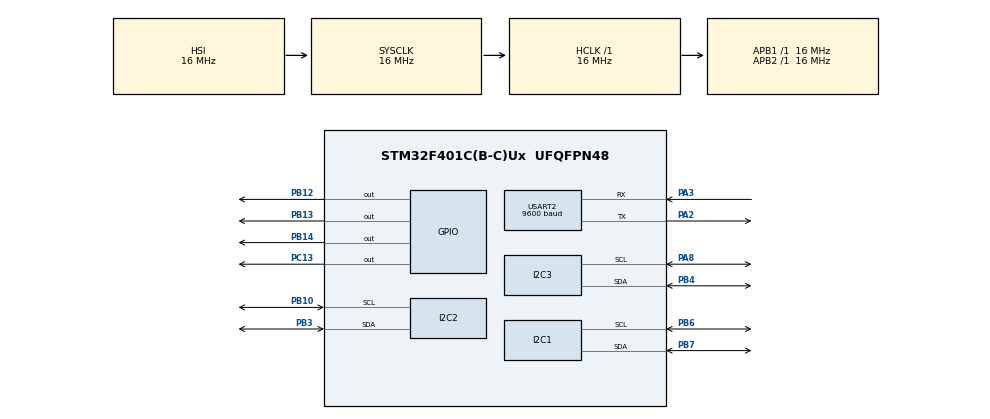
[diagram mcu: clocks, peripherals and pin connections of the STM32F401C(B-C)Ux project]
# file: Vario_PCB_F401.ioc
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FREERTOS.Tasks01=SensorTask,40,2024,sensor_aq_task,Default,NULL,Static,SensorTaskBuffer,SensorTaskControlBlock;DisplayTask,24,5024,display_refresh,Default,NULL,Static,DisplayTaskBuffer,DisplayTaskControlBlock;FailureMonitor,8,2024,failiure_detector,Default,NULL,Static,FailureMonitorBuffer,FailureMonitorControlBlock
FREERTOS.configUSE_NEWLIB_REENTRANT=1
Mcu.Family=STM32F4
Mcu.Name=STM32F401C(B-C)Ux
Mcu.Package=UFQFPN48
NVIC.PriorityGroup=NVIC_PRIORITYGROUP_4
NVIC.TIM1_TRG_COM_TIM11_IRQn=true\:15\:0\:false\:false\:true\:false\:false\:true\:true
NVIC.TimeBase=TIM1_TRG_COM_TIM11_IRQn
NVIC.TimeBaseIP=TIM11
PA2.Mode=Asynchronous
PA2.Signal=USART2_TX
PA3.Mode=Asynchronous
PA3.Signal=USART2_RX
PA8.GPIO_Pu=GPIO_PULLUP
PA8.Mode=I2C
PA8.Signal=I2C3_SCL
PB10.GPIO_Pu=GPIO_PULLUP
PB10.Mode=I2C
PB10.Signal=I2C2_SCL
PB12.GPIO_PuPd=GPIO_PULLDOWN
PB12.PinState=GPIO_PIN_SET
PB12.Signal=GPIO_Output
PB13.GPIO_PuPd=GPIO_PULLDOWN
PB13.PinState=GPIO_PIN_SET
PB13.Signal=GPIO_Output
PB14.GPIO_PuPd=GPIO_PULLDOWN
PB14.PinState=GPIO_PIN_SET
PB14.Signal=GPIO_Output
PB3.GPIO_Pu=GPIO_PULLUP
PB3.Mode=I2C
PB3.Signal=I2C2_SDA
PB4.GPIO_Pu=GPIO_PULLUP
PB4.Mode=I2C
PB4.Signal=I2C3_SDA
PB6.GPIO_Pu=GPIO_PULLUP
PB6.Mode=I2C
PB6.Signal=I2C1_SCL
PB7.GPIO_Pu=GPIO_PULLUP
PB7.Mode=I2C
PB7.Signal=I2C1_SDA
PC13-ANTI_TAMP.GPIO_PuPd=GPIO_PULLDOWN
PC13-ANTI_TAMP.PinState=GPIO_PIN_SET
PC13-ANTI_TAMP.Signal=GPIO_Output
ProjectManager.HeapSize=0x200
ProjectManager.StackSize=0x400
ProjectManager.TargetToolchain=STM32CubeIDE
RCC.AHBFreq_Value=16000000
RCC.APB1Freq_Value=16000000
RCC.APB2Freq_Value=16000000
RCC.CortexFreq_Value=16000000
RCC.HSE_VALUE=25000000
RCC.HSI_VALUE=16000000
RCC.LSE_VALUE=32768
RCC.SYSCLKFreq_VALUE=16000000
RCC.VCOOutputFreq_Value=192000000
USART2.BaudRate=9600
USART2.VirtualMode=VM_ASYNC
VP_FREERTOS_VS_CMSIS_V2.Mode=CMSIS_V2
VP_SYS_VS_tim11.Mode=TIM11
board=custom

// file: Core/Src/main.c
/* USER CODE BEGIN Header */
/**
 ******************************************************************************
 * @file           : main.c
 * @brief          : Main program body
 ******************************************************************************
 * @attention
 *
 * Copyright (c) 2026 STMicroelectronics.
 * All rights reserved.
 *
 * This software is licensed under terms that can be found in the LICENSE file
 * in the root directory of this software component.
 * If no LICENSE file comes with this software, it is provided AS-IS.
 *
 ******************************************************************************
 */
/* USER CODE END Header */
#include "main.h"
#include "cmsis_os.h"

/* USER CODE BEGIN Includes */
#include "bmp280_secondary.h"
#include "bmp280.h"
#include "mpu6050.h"
#include <stdio.h>
/* USER CODE END Includes */

typedef StaticTask_t osStaticThreadDef_t;

/* USER CODE BEGIN PD */
float altitude = 0.00f;
float gx = 0.00f;
float gy = 0.00f;
float gz = 0.00f;
float ax = 0.00f;
float ay = 0.00f;
float az = 0.00f;
float cc = 0.00f;
float cv = 0.00f;
float fused_vz = 0.00f;
float roll_deg = 0.00f;
float pitch_deg = 0.00f;
float prev_altitude = 0.00f;
float vz_avg = 0.00f;
int debug = 0;
float fused_vz_bias = 0.0f;
float pitch_bias = 0.0f;

int sensor_task_running = 0;
int display_task_running = 0;
int failure_monitor_running = 0;
float pitch_calibrated = 0.0f;

int bmp_primary_failure_state = 0;
int bmp_recovery_flag = 0;

/* USER CODE END PD */

I2C_HandleTypeDef hi2c1;
I2C_HandleTypeDef hi2c2;
I2C_HandleTypeDef hi2c3;

UART_HandleTypeDef huart2;

/* Definitions for SensorTask */
osThreadId_t SensorTaskHandle;
uint32_t SensorTaskBuffer[ 2024 ];
osStaticThreadDef_t SensorTaskControlBlock;
const osThreadAttr_t SensorTask_attributes = {
  .name = "SensorTask",
  .cb_mem = &SensorTaskControlBlock,
  .cb_size = sizeof(SensorTaskControlBlock),
  .stack_mem = &SensorTaskBuffer[0],
  .stack_size = sizeof(SensorTaskBuffer),
  .priority = (osPriority_t) osPriorityHigh,
};
/* Definitions for DisplayTask */
osThreadId_t DisplayTaskHandle;
uint32_t DisplayTaskBuffer[ 5024 ];
osStaticThreadDef_t DisplayTaskControlBlock;
const osThreadAttr_t DisplayTask_attributes = {
  .name = "DisplayTask",
  .cb_mem = &DisplayTaskControlBlock,
  .cb_size = sizeof(DisplayTaskControlBlock),
  .stack_mem = &DisplayTaskBuffer[0],
  .stack_size = sizeof(DisplayTaskBuffer),
  .priority = (osPriority_t) osPriorityNormal,
};
/* Definitions for FailureMonitor */
osThreadId_t FailureMonitorHandle;
uint32_t FailureMonitorBuffer[ 2024 ];
osStaticThreadDef_t FailureMonitorControlBlock;
const osThreadAttr_t FailureMonitor_attributes = {
  .name = "FailureMonitor",
  .cb_mem = &FailureMonitorControlBlock,
  .cb_size = sizeof(FailureMonitorControlBlock),
  .stack_mem = &FailureMonitorBuffer[0],
  .stack_size = sizeof(FailureMonitorBuffer),
  .priority = (osPriority_t) osPriorityNormal,
};

void SystemClock_Config(void);
static void MX_GPIO_Init(void);
static void MX_I2C1_Init(void);
static void MX_I2C2_Init(void);
static void MX_I2C3_Init(void);
static void MX_USART2_UART_Init(void);
void sensor_aq_task(void *argument);
void display_refresh(void *argument);
void failiure_detector(void *argument);

/* USER CODE BEGIN 0 */
#define PUTCHAR_PROTOTYPE int __io_putchar(int ch)

PUTCHAR_PROTOTYPE {
	/* Place your implementation of fputc here */
	/* e.g. write a character to the USART1 and Loop until the end of transmission */
	HAL_UART_Transmit(&huart2, (uint8_t*) &ch, 1, 300);

	return ch;
}

float vertical_velocity_baro(float altitude, float dt) {
	static float prev_alt = 0.0f;
	static uint8_t initialized = 0;
	static float vz = 0.0f;

	if (!initialized) {
		prev_alt = altitude;
		initialized = 1;
		return 0.0f;
	}

	float raw_vz = (altitude - prev_alt) / dt;
	const float alpha = 0.85f;
	vz = alpha * vz + (1.0f - alpha) * raw_vz;

	prev_alt = altitude;

	return vz;
}

float vertical_velocity_imu(float ax, float ay, float az, float roll_deg,
		float pitch_deg, float dt) {
	static float vz = 0.0f;
	static float bias = 0.0f;
	static uint8_t initialized = 0;

	const float g = 9.80665f;

	float roll = roll_deg * 0.0174533f;
	float pitch = pitch_deg * 0.0174533f;

	float accZ_inertial = -sinf(pitch) * ax + cosf(pitch) * sinf(roll) * ay
			+ cosf(pitch) * cosf(roll) * az;

	float az_true = (accZ_inertial - 1.0f) * g;

	if (!initialized) {
		bias = az_true;
		initialized = 1;
		return 0.0f;
	}

	bias = 0.995f * bias + 0.005f * az_true;
	az_true -= bias;
	vz += az_true * dt;
	vz *= 0.999f;

	return vz;
}

float average_altitude(int steps) {
	float sum = 0.0f;

	for (int i = 0; i < steps; i++) {
		sum += altitude_calc();
		HAL_Delay(10);
	}

	return sum / steps;
}

float vertical_velocity_fused(float ax, float ay, float az, float roll_deg,
		float pitch_deg, float dt) {
	static float vz = 0.0f;
	static float prev_alt = 0.0f;
	static float vz_baro = 0.0f;

	const float g = 9.80665f;

	float roll = roll_deg * 0.0174533f;
	float pitch = pitch_deg * 0.0174533f;

	float accZ_inertial = -sinf(pitch) * ax + cosf(pitch) * sinf(roll) * ay
			+ cosf(pitch) * cosf(roll) * az;

	float az_true = (accZ_inertial - 1.0f) * g;
	float altitude = altitude_calc();
	float raw_vz_baro = (altitude - prev_alt) / dt;

	const float alpha_baro = 0.91f;
	vz_baro = alpha_baro * vz_baro + (1.0f - alpha_baro) * raw_vz_baro;
	prev_alt = altitude;

	const float k_baro = 0.05f; //earlier 0,05

	vz += az_true * dt;
	vz += (vz_baro - vz) * k_baro;

	return vz;
}

float display_refresh_averaged(float input, int count) {
	for (int i = 0; i <= count; i++) {
		input += input;
	}

	input = input / count;

	return input;
}
/* USER CODE END 0 */

int main(void)
{

  /* MCU Configuration--------------------------------------------------------*/

  /* Reset of all peripherals, Initializes the Flash interface and the Systick. */
  HAL_Init();

  /* Configure the system clock */
  SystemClock_Config();

  /* Initialize all configured peripherals */
  MX_GPIO_Init();
  MX_I2C1_Init();
  MX_I2C2_Init();
  MX_I2C3_Init();
  MX_USART2_UART_Init();
  /* USER CODE BEGIN 2 */
	mpu_init();
	bmp_i2c_setup();
	bmp_i2c_setup_secondary();

	HAL_GPIO_WritePin(GPIOC, GPIO_PIN_13, 0); // Inverted LED logic
	HAL_GPIO_WritePin(GPIOB, GPIO_PIN_14, 0);
	HAL_GPIO_WritePin(GPIOB, GPIO_PIN_13, 0);
	HAL_GPIO_WritePin(GPIOB, GPIO_PIN_12, 0);

	HAL_Delay(100);

	//HAL_GPIO_WritePin(GPIOB, GPIO_PIN_14, 1);
	HAL_GPIO_WritePin(GPIOB, GPIO_PIN_13, 1);
	HAL_GPIO_WritePin(GPIOB, GPIO_PIN_12, 1);

	float sum = 0.0f;
	float pitch_sum = 0.0f;

	debug = 1;

	for (int i = 0; i < 100; i++) {
		gx = mpu_gyro_read(0);
		gy = mpu_gyro_read(1);
		gz = mpu_gyro_read(2);

		ax = mpu_accel_read(0);
		ay = mpu_accel_read(1);
		az = mpu_accel_read(2);

		mpu_get_kalman_angles(&roll_deg, &pitch_deg);

		pitch_sum += pitch_deg;

		altitude = altitude_calc();

		float temp = vertical_velocity_fused(ax, ay, az, roll_deg, pitch_deg,
				0.02f);

		sum += temp;

		HAL_Delay(2);
	}

	pitch_bias = pitch_sum / 100.0f;

	fused_vz_bias = sum / 100.0f;

	HAL_GPIO_WritePin(GPIOB, GPIO_PIN_14, 0); //Inverted LED logic
	HAL_GPIO_WritePin(GPIOB, GPIO_PIN_13, 0);
	HAL_GPIO_WritePin(GPIOB, GPIO_PIN_12, 0);
	HAL_GPIO_WritePin(GPIOC, GPIO_PIN_13, 0);

	debug = 100;

  /* USER CODE END 2 */

  /* Init scheduler */
  osKernelInitialize();

  /* Create the thread(s) */
  /* creation of SensorTask */
  SensorTaskHandle = osThreadNew(sensor_aq_task, NULL, &SensorTask_attributes);

  /* creation of DisplayTask */
  DisplayTaskHandle = osThreadNew(display_refresh, NULL, &DisplayTask_attributes);

  /* creation of FailureMonitor */
  FailureMonitorHandle = osThreadNew(failiure_detector, NULL, &FailureMonitor_attributes);

  /* Start scheduler */
  osKernelStart();

  /* We should never get here as control is now taken by the scheduler */

  /* Infinite loop */
	while (1) {

	}
}

void SystemClock_Config(void)
{
  RCC_OscInitTypeDef RCC_OscInitStruct = {0};
  RCC_ClkInitTypeDef RCC_ClkInitStruct = {0};

  /** Configure the main internal regulator output voltage
  */
  __HAL_RCC_PWR_CLK_ENABLE();
  __HAL_PWR_VOLTAGESCALING_CONFIG(PWR_REGULATOR_VOLTAGE_SCALE2);

  /** Initializes the RCC Oscillators according to the specified parameters
  * in the RCC_OscInitTypeDef structure.
  */
  RCC_OscInitStruct.OscillatorType = RCC_OSCILLATORTYPE_HSI;
  RCC_OscInitStruct.HSIState = RCC_HSI_ON;
  RCC_OscInitStruct.HSICalibrationValue = RCC_HSICALIBRATION_DEFAULT;
  RCC_OscInitStruct.PLL.PLLState = RCC_PLL_NONE;
  if (HAL_RCC_OscConfig(&RCC_OscInitStruct) != HAL_OK)
  {
    Error_Handler();
  }

  /** Initializes the CPU, AHB and APB buses clocks
  */
  RCC_ClkInitStruct.ClockType = RCC_CLOCKTYPE_HCLK|RCC_CLOCKTYPE_SYSCLK
                              |RCC_CLOCKTYPE_PCLK1|RCC_CLOCKTYPE_PCLK2;
  RCC_ClkInitStruct.SYSCLKSource = RCC_SYSCLKSOURCE_HSI;
  RCC_ClkInitStruct.AHBCLKDivider = RCC_SYSCLK_DIV1;
  RCC_ClkInitStruct.APB1CLKDivider = RCC_HCLK_DIV1;
  RCC_ClkInitStruct.APB2CLKDivider = RCC_HCLK_DIV1;

  if (HAL_RCC_ClockConfig(&RCC_ClkInitStruct, FLASH_LATENCY_0) != HAL_OK)
  {
    Error_Handler();
  }
}

static void MX_I2C1_Init(void)
{

  hi2c1.Instance = I2C1;
  hi2c1.Init.ClockSpeed = 100000;
  hi2c1.Init.DutyCycle = I2C_DUTYCYCLE_2;
  hi2c1.Init.OwnAddress1 = 0;
  hi2c1.Init.AddressingMode = I2C_ADDRESSINGMODE_7BIT;
  hi2c1.Init.DualAddressMode = I2C_DUALADDRESS_DISABLE;
  hi2c1.Init.OwnAddress2 = 0;
  hi2c1.Init.GeneralCallMode = I2C_GENERALCALL_DISABLE;
  hi2c1.Init.NoStretchMode = I2C_NOSTRETCH_DISABLE;
  if (HAL_I2C_Init(&hi2c1) != HAL_OK)
  {
    Error_Handler();
  }

}

static void MX_I2C2_Init(void)
{

  hi2c2.Instance = I2C2;
  hi2c2.Init.ClockSpeed = 100000;
  hi2c2.Init.DutyCycle = I2C_DUTYCYCLE_2;
  hi2c2.Init.OwnAddress1 = 0;
  hi2c2.Init.AddressingMode = I2C_ADDRESSINGMODE_7BIT;
  hi2c2.Init.DualAddressMode = I2C_DUALADDRESS_DISABLE;
  hi2c2.Init.OwnAddress2 = 0;
  hi2c2.Init.GeneralCallMode = I2C_GENERALCALL_DISABLE;
  hi2c2.Init.NoStretchMode = I2C_NOSTRETCH_DISABLE;
  if (HAL_I2C_Init(&hi2c2) != HAL_OK)
  {
    Error_Handler();
  }

}

static void MX_I2C3_Init(void)
{

  hi2c3.Instance = I2C3;
  hi2c3.Init.ClockSpeed = 100000;
  hi2c3.Init.DutyCycle = I2C_DUTYCYCLE_2;
  hi2c3.Init.OwnAddress1 = 0;
  hi2c3.Init.AddressingMode = I2C_ADDRESSINGMODE_7BIT;
  hi2c3.Init.DualAddressMode = I2C_DUALADDRESS_DISABLE;
  hi2c3.Init.OwnAddress2 = 0;
  hi2c3.Init.GeneralCallMode = I2C_GENERALCALL_DISABLE;
  hi2c3.Init.NoStretchMode = I2C_NOSTRETCH_DISABLE;
  if (HAL_I2C_Init(&hi2c3) != HAL_OK)
  {
    Error_Handler();
  }

}

static void MX_USART2_UART_Init(void)
{

  huart2.Instance = USART2;
  huart2.Init.BaudRate = 9600;
  huart2.Init.WordLength = UART_WORDLENGTH_8B;
  huart2.Init.StopBits = UART_STOPBITS_1;
  huart2.Init.Parity = UART_PARITY_NONE;
  huart2.Init.Mode = UART_MODE_TX_RX;
  huart2.Init.HwFlowCtl = UART_HWCONTROL_NONE;
  huart2.Init.OverSampling = UART_OVERSAMPLING_16;
  if (HAL_UART_Init(&huart2) != HAL_OK)
  {
    Error_Handler();
  }

}

static void MX_GPIO_Init(void)
{
  GPIO_InitTypeDef GPIO_InitStruct = {0};

  /* GPIO Ports Clock Enable */
  __HAL_RCC_GPIOC_CLK_ENABLE();
  __HAL_RCC_GPIOA_CLK_ENABLE();
  __HAL_RCC_GPIOB_CLK_ENABLE();

  /*Configure GPIO pin Output Level */
  HAL_GPIO_WritePin(GPIOC, GPIO_PIN_13, GPIO_PIN_SET);

  /*Configure GPIO pin Output Level */
  HAL_GPIO_WritePin(GPIOB, GPIO_PIN_12|GPIO_PIN_13|GPIO_PIN_14, GPIO_PIN_SET);

  /*Configure GPIO pin : PC13 */
  GPIO_InitStruct.Pin = GPIO_PIN_13;
  GPIO_InitStruct.Mode = GPIO_MODE_OUTPUT_PP;
  GPIO_InitStruct.Pull = GPIO_PULLDOWN;
  GPIO_InitStruct.Speed = GPIO_SPEED_FREQ_LOW;
  HAL_GPIO_Init(GPIOC, &GPIO_InitStruct);

  /*Configure GPIO pins : PB12 PB13 PB14 */
  GPIO_InitStruct.Pin = GPIO_PIN_12|GPIO_PIN_13|GPIO_PIN_14;
  GPIO_InitStruct.Mode = GPIO_MODE_OUTPUT_PP;
  GPIO_InitStruct.Pull = GPIO_PULLDOWN;
  GPIO_InitStruct.Speed = GPIO_SPEED_FREQ_LOW;
  HAL_GPIO_Init(GPIOB, &GPIO_InitStruct);

}

void sensor_aq_task(void *argument)
{
  /* USER CODE BEGIN 5 */
	/* Infinite loop */
	for (;;) {

		//sensor_task_running = 1;

		HAL_GPIO_TogglePin(GPIOC, GPIO_PIN_13); // Toggle LED

		gx = mpu_gyro_read(0);
		gy = mpu_gyro_read(1);
		gz = mpu_gyro_read(2);
		ax = mpu_accel_read(0);
		ay = mpu_accel_read(1);
		az = mpu_accel_read(2);

		mpu_get_kalman_angles(&roll_deg, &pitch_deg);

		pitch_calibrated = pitch_deg - pitch_bias;

		if (bmp_recovery_flag == 1) {

			altitude = altitude_calc_secondary();
			HAL_GPIO_WritePin(GPIOB, GPIO_PIN_13, 1);
		} else {
			altitude = altitude_calc();
		}
		cv = vertical_velocity_baro(altitude, 0.01f);
		cc = vertical_velocity_imu(ax, ay, az, roll_deg, pitch_deg, 0.01f);
		fused_vz = vertical_velocity_fused(ax, ay, az, roll_deg, pitch_deg,
				0.01f);
		fused_vz -= fused_vz_bias;

		uint32_t err = HAL_I2C_GetError(&hi2c1);

		if (bmp_recovery_flag == 0) {
			if (err == HAL_I2C_ERROR_NONE) {
				bmp_primary_failure_state = 0;
			} else if (err & HAL_I2C_ERROR_AF) {
				bmp_primary_failure_state++;
			} else if (err & HAL_I2C_ERROR_BERR) {
				bmp_primary_failure_state++;
			} else if (err & HAL_I2C_ERROR_TIMEOUT) {
				bmp_primary_failure_state++;
			} else {
				bmp_primary_failure_state++;
			}
		}

		osDelay(1);
		//sensor_task_running = 0;

	}
  /* USER CODE END 5 */
}

void display_refresh(void *argument)
{
  /* USER CODE BEGIN display_refresh */
	/* Infinite loop */
	for (;;) {
		//display_task_running = 1;
		HAL_GPIO_TogglePin(GPIOB, GPIO_PIN_13); // Toggle LED
		printf(
				"t1.txt=\"%.2f m/s\"\xFF\xFF\xFFt2.txt=\"%.2f m\"\xFF\xFF\xFFt3.txt=\"%.2f deg\"\xFF\xFF\xFF",
				fused_vz, altitude, pitch_calibrated);
		osDelay(1);
		//display_task_running = 0;
	}
  /* USER CODE END display_refresh */
}

void failiure_detector(void *argument)
{
  /* USER CODE BEGIN failiure_detector */
	/* Infinite loop */
	for (;;) {
		//failure_monitor_running = 1;

		HAL_GPIO_TogglePin(GPIOB, GPIO_PIN_14); // Toggle LED
		if (bmp_primary_failure_state >= 5) {
			bmp_recovery_flag = 1;
			//HAL_GPIO_WritePin(GPIOB, GPIO_PIN_14, 1);
		}
		osDelay(200);
		//failure_monitor_running = 0;
	}
  /* USER CODE END failiure_detector */
}

void HAL_TIM_PeriodElapsedCallback(TIM_HandleTypeDef *htim)
{
  if (htim->Instance == TIM11)
  {
    HAL_IncTick();
  }
}

void Error_Handler(void)
{
	__disable_irq();
	while (1) {
	}
}
